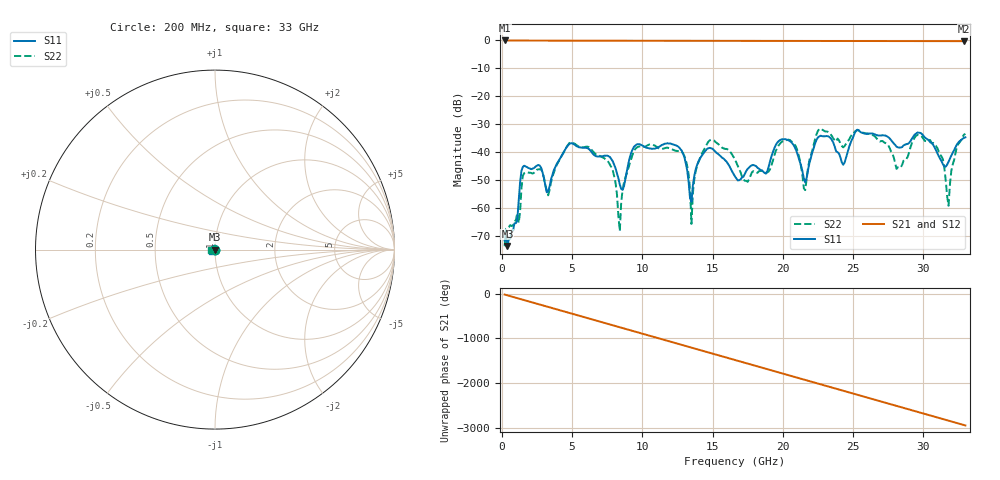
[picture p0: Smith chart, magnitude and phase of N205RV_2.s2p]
# GHZ S RI R 50
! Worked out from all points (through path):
!   329 points, 200 MHz to 33 GHz, reference 50 ohm
!   highest |S21| = -0.02 dB at 200 MHz (marker M1); lowest = -0.3 dB at 32.9 GHz (marker M2)
!   group delay of S21, straight-line fit = 248 ps
!   lowest |S11| = -73.5 dB at 400 MHz (marker M3), VSWR 1.00, Z = 50 - j0.00258 ohm
!   |S11| at or under -10 dB: start of sweep to end of sweep
!   |S22| runs from -73.5 to -31.5 dB; largest |S21 - S12| = 0.0019
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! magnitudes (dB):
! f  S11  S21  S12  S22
! 200 MHz  -71.5  0.0  0.0  -73.5
! 400 MHz  -73.5  0.0  0.0  -67.1
! 1.2 GHz  -57.4  0.0  0.0  -65.2
! 1.5 GHz  -45.1  -0.1  -0.1  -48.3
! 3.2 GHz  -54.3  -0.1  -0.1  -53.5
! 5.7 GHz  -38.3  -0.1  -0.1  -38.2
! 7.8 GHz  -42.4  -0.1  -0.1  -45.3
! 8.4 GHz  -51.5  -0.1  -0.1  -68.1
! 9.4 GHz  -38.1  -0.1  -0.1  -39.6
! 11.2 GHz  -38.0  -0.1  -0.1  -38.6
! 13 GHz  -41.8  -0.2  -0.2  -41.4
! 13.5 GHz  -57.7  -0.2  -0.2  -65.6
! 14.7 GHz  -38.5  -0.2  -0.2  -36.2
! 16.6 GHz  -48.6  -0.2  -0.2  -42.5
! 20.5 GHz  -35.9  -0.2  -0.2  -35.6
! 21.6 GHz  -50.8  -0.2  -0.2  -53.5
! 22.1 GHz  -40.1  -0.2  -0.2  -39.3
! 27.6 GHz  -35.0  -0.2  -0.2  -38.4
! 30.7 GHz  -37.2  -0.3  -0.3  -36.6
! 31.8 GHz  -43.4  -0.3  -0.3  -59.1
! 32.9 GHz  -34.8  -0.3  -0.3  -33.7
! 33 GHz  -34.6  -0.3  -0.3  -33.4
